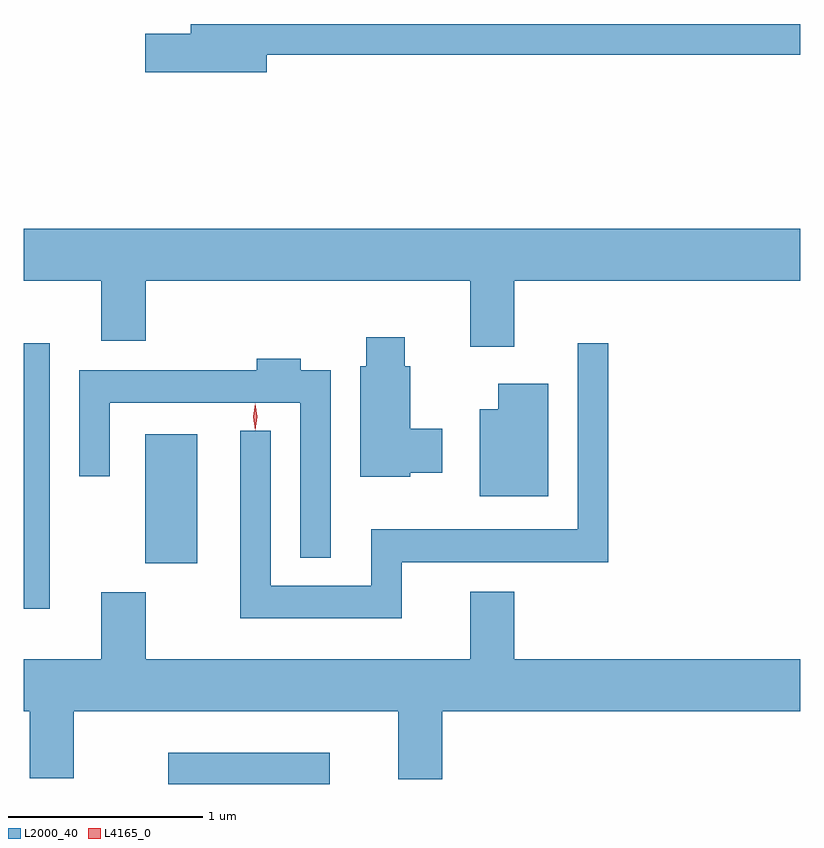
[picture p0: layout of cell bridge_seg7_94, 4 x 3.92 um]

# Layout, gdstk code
import gdstk
lib = gdstk.Library(unit=1e-6, precision=1e-09)
def R(c, l, rs):  # rectangles x0, y0, x1, y1
    for r in rs: c.add(gdstk.rectangle(r[:2], r[2:], *l))
def P(c, l, *ps):  # polygons
    for p in ps: c.add(gdstk.Polygon(p, *l))
L2000_40 = (2000, 40)
L4165_0 = (4165, 0)

bridge_seg7_94 = lib.new_cell('bridge_seg7_94')
R(bridge_seg7_94, L2000_40, [(1630.266,1780.542,1631.099,1780.704), (1629.522,1781.446,1629.654,1782.813), (1630.146,1781.681,1630.414,1782.344)])
P(bridge_seg7_94, L2000_40, [(1630.774,1784.301),(1633.522,1784.301),(1633.522,1784.459),(1630.381,1784.459),(1630.381,1784.409),(1630.146,1784.409),(1630.146,1784.211),(1630.774,1784.211)],
  [(1632.049,1783.136),(1633.522,1783.136),(1633.522,1783.404),(1629.522,1783.404),(1629.522,1783.136),(1629.921,1783.136),(1629.921,1782.826),(1630.149,1782.826),(1630.149,1783.136),(1631.821,1783.136),(1631.821,1782.796),(1632.049,1782.796)],
  [(1631.514,1782.146),(1631.679,1782.146),(1631.679,1782.374),(1631.514,1782.374),(1631.514,1782.694),(1631.484,1782.694),(1631.484,1782.844),(1631.286,1782.844),(1631.286,1782.694),(1631.256,1782.694),(1631.256,1782.126),(1631.514,1782.126)],
  [(1631.469,1781.686),(1632.534,1781.686),(1632.534,1782.813),(1632.376,1782.813),(1632.376,1781.854),(1631.311,1781.854),(1631.311,1781.564),(1630.794,1781.564),(1630.794,1782.363),(1630.636,1782.363),(1630.636,1781.396),(1631.469,1781.396)],
  [(1631.104,1782.674),(1630.949,1782.674),(1630.949,1782.734),(1630.721,1782.734),(1630.721,1782.674),(1629.806,1782.674),(1629.806,1782.128),(1629.964,1782.128),(1629.964,1782.506),(1630.946,1782.506),(1630.946,1781.708),(1631.104,1781.708)],
  [(1632.224,1782.604),(1631.966,1782.604),(1631.966,1782.474),(1631.871,1782.474),(1631.871,1782.026),(1632.224,1782.026)],
  [(1631.679,1780.916),(1633.522,1780.916),(1633.522,1781.184),(1632.049,1781.184),(1632.049,1781.534),(1631.821,1781.534),(1631.821,1781.184),(1630.149,1781.184),(1630.149,1781.529),(1629.921,1781.529),(1629.921,1781.184),(1629.522,1781.184),(1629.522,1780.916),(1629.551,1780.916),(1629.551,1780.571),(1629.779,1780.571),(1629.779,1780.916),(1631.451,1780.916),(1631.451,1780.566),(1631.679,1780.566)])
P(bridge_seg7_94, L4165_0, [(1630.713,1782.367),(1630.704,1782.434),(1630.713,1782.5),(1630.714,1782.5),(1630.714,1782.5),(1630.724,1782.434),(1630.714,1782.367),(1630.714,1782.367)],
  [(1630.714,1782.364),(1630.705,1782.434),(1630.714,1782.502),(1630.715,1782.503),(1630.715,1782.502),(1630.725,1782.434),(1630.715,1782.364),(1630.715,1782.364)])

lib.write_gds('bridge_seg7_94.gds')
